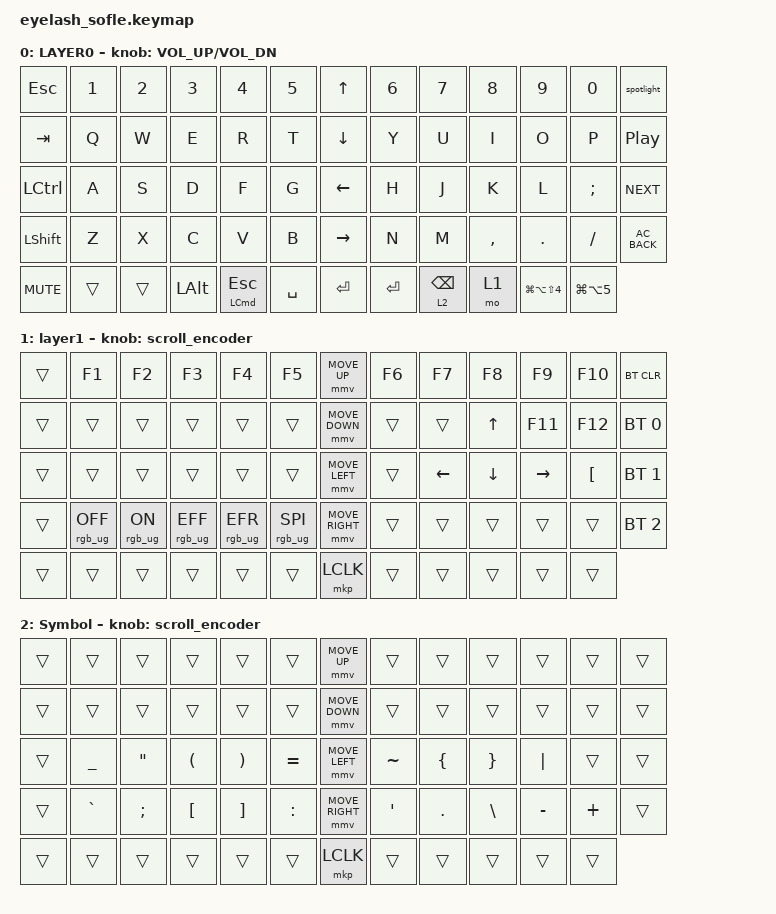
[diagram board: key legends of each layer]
#define ZMK_POINTING_DEFAULT_MOVE_VAL 1200  // 600
#define ZMK_POINTING_DEFAULT_SCRL_VAL 25   // 10

#include <input/processors.dtsi>
#include <zephyr/dt-bindings/input/input-event-codes.h>
#include <behaviors.dtsi>
#include <dt-bindings/zmk/bt.h>
#include <dt-bindings/zmk/keys.h>
#include <dt-bindings/zmk/pointing.h>
#include <dt-bindings/zmk/rgb.h>

&mmv_input_listener { input-processors = <&zip_xy_scaler 2 1>; };

&msc_input_listener { input-processors = <&zip_scroll_scaler 2 1>; };

&msc {
    acceleration-exponent = <1>;      // 0
    time-to-max-speed-ms = <100>;       // 300
    delay-ms = <0>;                   // 0
};

&mmv {
    time-to-max-speed-ms = <500>;
    acceleration-exponent = <1>;
    trigger-period-ms = <16>;
};

&soft_off { hold-time-ms = <2000>; };

/ {
    scroll_encoder: scroll_encoder {
        compatible = "zmk,behavior-sensor-rotate";
        #sensor-binding-cells = <0>;
        bindings = <&msc SCRL_DOWN>, <&msc SCRL_UP>;

        tap-ms = <100>;
    };

    layer: layer {
        compatible = "zmk,behavior-hold-tap";
        label = "LAYER";
        bindings = <&mo>, <&kp>;

        #binding-cells = <2>;
        tapping-term-ms = <150>;
        quick-tap-ms = <100>;
        require-prior-idle-ms = <150>;
        flavor = "balanced";
        hold-trigger-key-positions = <0 1 2 3 4 5 13 14 15 16 17 18 26 27 28 29 30 31 39 40 41 42 43 44 53 54 55 56 57 62 60 59 46 20 33 7 8 34 47 21 61 48 35 22 9 10 23 11 12 24 25 37 38 50 51 36 49 63>;
        hold-trigger-on-release;
    };

    hold_command: hold_command {
        compatible = "zmk,behavior-hold-tap";
        label = "HOLD_COMMAND";
        bindings = <&kp>, <&kp>;

        #binding-cells = <2>;
        tapping-term-ms = <150>;
        flavor = "balanced";
        hold-trigger-key-positions = <0 1 2 3 4 5 13 14 15 16 17 18 26 27 28 29 30 31 39 40 41 42 43 44 53 54 55 56 57 46 47 48 49 50 51 59 60 61 62 63 7 8 9 10 11 12 20 21 22 23 24 25 33 34 35 36 37 38 48>;
    };

    behaviors {
    };

    combos {
        compatible = "zmk,combos";

        softoff {
            bindings = <&soft_off>;
            key-positions = <14 28 40>;
        };
    };

    macros {
        spotlight: spotlight {
            compatible = "zmk,behavior-macro";
            #binding-cells = <0>;
            bindings = <&kp LEFT_COMMAND &kp SPACE>;
            label = "SPOTLIGHT";
        };
    };

    keymap {
        compatible = "zmk,keymap";

        QWERTY {
            bindings = <
&kp ESC     &kp N1  &kp N2  &kp N3        &kp N4                             &kp N5       &kp UP_ARROW     &kp N6     &kp N7              &kp N8     &kp N9                    &kp N0                &spotlight
&kp TAB     &kp Q   &kp W   &kp E         &kp R                              &kp T        &kp DOWN_ARROW   &kp Y      &kp U               &kp I      &kp O                     &kp P                 &kp C_PP
&kp LCTRL   &kp A   &kp S   &kp D         &kp F                              &kp G        &kp LEFT_ARROW   &kp H      &kp J               &kp K      &kp L                     &kp SEMI              &kp C_NEXT
&kp LSHFT   &kp Z   &kp X   &kp C         &kp V                              &kp B        &kp RIGHT_ARROW  &kp N      &kp M               &kp COMMA  &kp DOT                   &kp FSLH              &kp C_AC_BACK
&kp C_MUTE  &trans  &trans  &kp LEFT_ALT  &hold_command LEFT_COMMAND ESCAPE  &kp SPACE    &kp ENTER        &kp ENTER  &layer 2 BACKSPACE  &mo 1      &kp LG(LA(LS(NUMBER_4)))  &kp LG(LA(NUMBER_5))
            >;

            sensor-bindings = <&inc_dec_kp C_VOLUME_UP C_VOL_DN>;
            display-name = "LAYER0";
        };

        Fn {
            bindings = <
&trans  &kp F1           &kp F2          &kp F3           &kp F4           &kp F5             &mmv MOVE_UP     &kp F6  &kp F7    &kp F8    &kp F9     &kp F10           &bt BT_CLR
&trans  &trans           &trans          &trans           &trans           &trans             &mmv MOVE_DOWN   &trans  &trans    &kp UP    &kp F11    &kp F12           &bt BT_SEL 0
&trans  &trans           &trans          &trans           &trans           &trans             &mmv MOVE_LEFT   &trans  &kp LEFT  &kp DOWN  &kp RIGHT  &kp LEFT_BRACKET  &bt BT_SEL 1
&trans  &rgb_ug RGB_OFF  &rgb_ug RGB_ON  &rgb_ug RGB_EFF  &rgb_ug RGB_EFR  &rgb_ug RGB_SPI    &mmv MOVE_RIGHT  &trans  &trans    &trans    &trans     &trans            &bt BT_SEL 2
&trans  &trans           &trans          &trans           &trans           &trans             &mkp LCLK        &trans  &trans    &trans    &trans     &trans
            >;

            display-name = "layer1";
            sensor-bindings = <&scroll_encoder>;
        };

        Symbol {
            bindings = <
&trans  &trans          &trans             &trans                &trans                 &trans       &mmv MOVE_UP     &trans     &trans          &trans           &trans     &trans    &trans
&trans  &trans          &trans             &trans                &trans                 &trans       &mmv MOVE_DOWN   &trans     &trans          &trans           &trans     &trans    &trans
&trans  &kp UNDERSCORE  &kp DOUBLE_QUOTES  &kp LEFT_PARENTHESIS  &kp RIGHT_PARENTHESIS  &kp EQUAL    &mmv MOVE_LEFT   &kp TILDE  &kp LEFT_BRACE  &kp RIGHT_BRACE  &kp PIPE   &trans    &trans
&trans  &kp GRAVE       &kp SEMICOLON      &kp LEFT_BRACKET      &kp RIGHT_BRACKET      &kp COLON    &mmv MOVE_RIGHT  &kp SQT    &kp PERIOD      &kp BACKSLASH    &kp MINUS  &kp PLUS  &trans
&trans  &trans          &trans             &trans                &trans                 &trans       &mkp LCLK        &trans     &trans          &trans           &trans     &trans
            >;

            sensor-bindings = <&scroll_encoder>;
        };
    };
};
